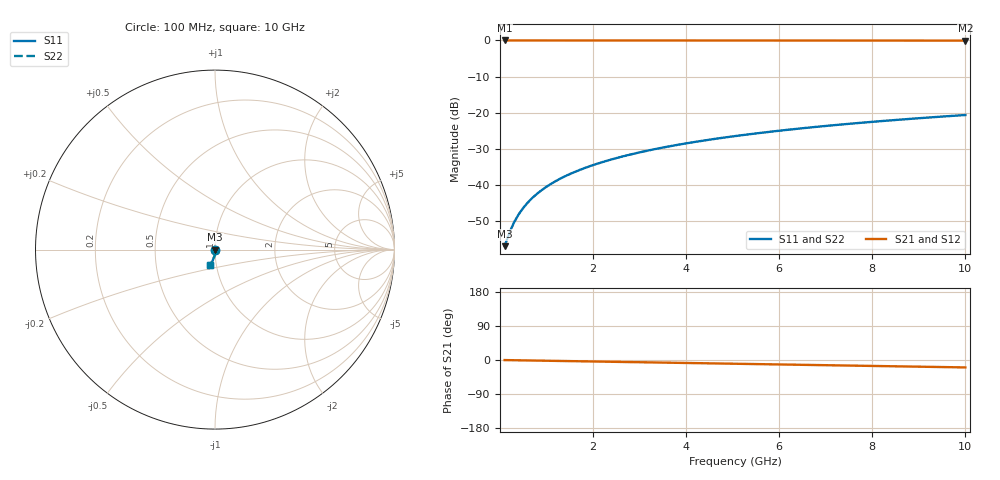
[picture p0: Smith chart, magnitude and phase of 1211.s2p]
# Hz S RI R 50.00
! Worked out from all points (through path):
!   100 points, 100 MHz to 10 GHz, reference 50 ohm
!   highest |S21| = -0.01 dB at 100 MHz (marker M1); lowest = -0.1 dB at 10 GHz (marker M2)
!   group delay of S21, straight-line fit = 5.44 ps
!   lowest |S11| = -56.8 dB at 100 MHz (marker M3), VSWR 1.00, Z = 50.1 - j0.0952 ohm
!   |S11| at or under -10 dB: start of sweep to end of sweep
!   |S22| runs from -56.8 to -20.6 dB; largest |S21 - S12| = 0
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1e8  0.00108 -0.00095  0.9989 -0.00341  0.9989 -0.00341  0.00108 -0.00095
2e8  0.00108 -0.0019  0.9989 -0.00682  0.9989 -0.00682  0.00108 -0.0019
3e8  0.00106 -0.00285  0.9988 -0.0102  0.9988 -0.0102  0.00106 -0.00285
4e8  0.00104 -0.0038  0.9988 -0.0136  0.9988 -0.0136  0.00104 -0.0038
5e8  0.00101 -0.00475  0.9987 -0.017  0.9987 -0.017  0.00101 -0.00475
6e8  0.000981 -0.0057  0.9987 -0.0204  0.9987 -0.0204  0.000981 -0.0057
7e8  0.00094 -0.00665  0.9986 -0.0239  0.9986 -0.0239  0.00094 -0.00665
9e8  0.000837 -0.00855  0.9984 -0.0307  0.9984 -0.0307  0.000837 -0.00855
1e9  0.000776 -0.0095  0.9982 -0.0341  0.9982 -0.0341  0.000776 -0.0095
1.2e9  0.000634 -0.0114  0.9979 -0.0409  0.9979 -0.0409  0.000634 -0.0114
1.5e9  0.000372 -0.0142  0.9974 -0.0511  0.9974 -0.0511  0.000372 -0.0142
1.8e9  5.15e-05 -0.0171  0.9968 -0.0613  0.9968 -0.0613  5.15e-05 -0.0171
2.1e9  -0.000328 -0.0199  0.996 -0.0715  0.996 -0.0715  -0.000328 -0.0199
2.5e9  -0.000924 -0.0237  0.9949 -0.0851  0.9949 -0.0851  -0.000924 -0.0237
2.9e9  -0.00162 -0.0274  0.9935 -0.0987  0.9935 -0.0987  -0.00162 -0.0274
3.4e9  -0.00264 -0.0321  0.9915 -0.1156  0.9915 -0.1156  -0.00264 -0.0321
4.2e9  -0.0046 -0.0394  0.9877 -0.1426  0.9877 -0.1426  -0.0046 -0.0394
5.1e9  -0.00728 -0.0476  0.9824 -0.1729  0.9824 -0.1729  -0.00728 -0.0476
5.9e9  -0.0101 -0.0547  0.9769 -0.1996  0.9769 -0.1996  -0.0101 -0.0547
6.7e9  -0.0133 -0.0617  0.9706 -0.2262  0.9706 -0.2262  -0.0133 -0.0617
8.4e9  -0.0213 -0.0758  0.9547 -0.2819  0.9547 -0.2819  -0.0213 -0.0758
1e10  -0.0303 -0.0882  0.9366 -0.3333  0.9366 -0.3333  -0.0303 -0.0882
